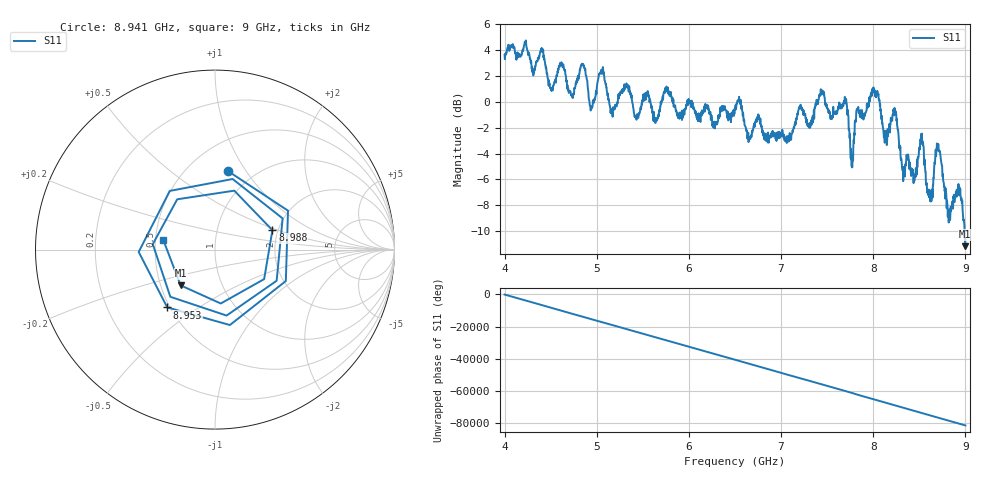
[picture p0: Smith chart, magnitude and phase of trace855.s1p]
! Created with skrf 1.8.0 (http://scikit-rf.org).
# Hz S RI R 50.0
!freq ReS11 ImS11
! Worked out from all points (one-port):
!   1601 points, 4 GHz to 9 GHz, reference 50 ohm
!   lowest |S11| = -11.2 dB at 8.997 GHz (marker M1), VSWR 1.76, Z = 31.6 - j13.7 ohm
!   |S11| at or under -10 dB: 8.991537 GHz to end of sweep
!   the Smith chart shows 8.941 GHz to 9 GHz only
!   S11 on the Smith chart (normalised r, x): 8.941 GHz: 0.77, +0.83; 8.953 GHz: 0.48, -0.38; 8.988 GHz: 1.87, +0.46; 9 GHz: 0.55, +0.07
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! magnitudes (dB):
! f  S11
! 4 GHz  3.6
! 4.406 GHz  3.9
! 4.509 GHz  0.9
! 4.625 GHz  2.8
! 4.728 GHz  0.4
! 4.853 GHz  2.8
! 4.941 GHz  -0.5
! 5.05 GHz  2.5
! 5.162 GHz  -0.5
! 5.25 GHz  0.5
! 5.875 GHz  -1.0
! 6.5 GHz  -0.4
! 7.125 GHz  -2.2
! 7.441 GHz  0.7
! 7.697 GHz  -0.1
! 7.75 GHz  -3.5
! 8.003 GHz  1.1
! 8.375 GHz  -4.1
! 8.447 GHz  -6.1
! 8.525 GHz  -2.7
! 8.619 GHz  -7.7
! 8.703 GHz  -3.5
! 8.822 GHz  -8.9
! 8.941 GHz  -7.1
! 8.953 GHz  -7.6
! 8.988 GHz  -9.4
! 8.997 GHz  -11.2
! 9 GHz  -10.6
